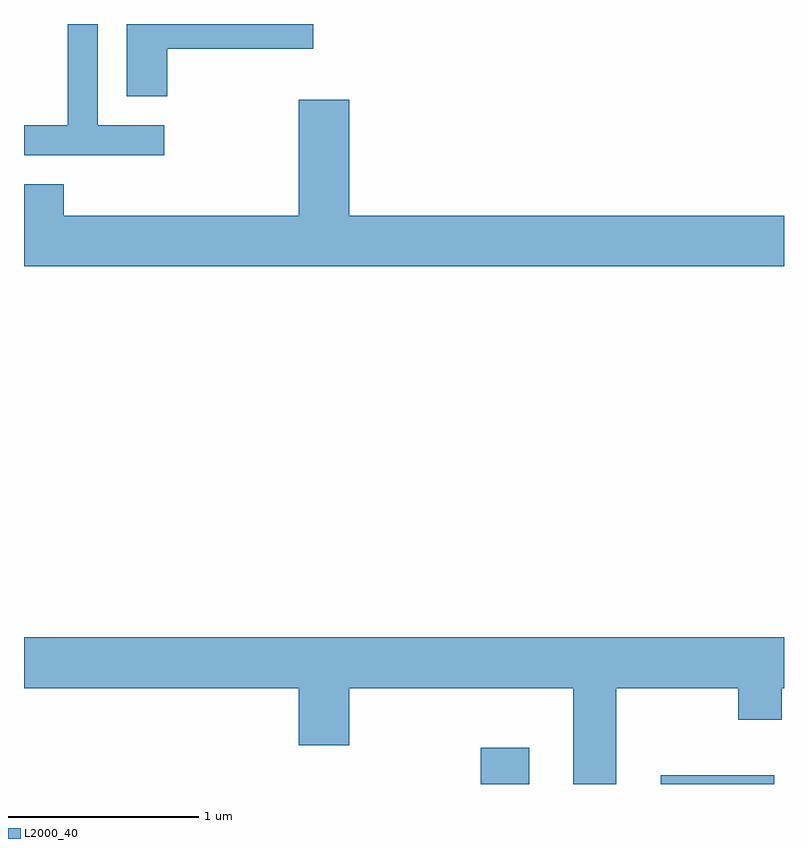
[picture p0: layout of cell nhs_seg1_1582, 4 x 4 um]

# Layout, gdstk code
import gdstk
lib = gdstk.Library(unit=1e-6, precision=1e-09)
def R(c, l, rs):  # rectangles x0, y0, x1, y1
    for r in rs: c.add(gdstk.rectangle(r[:2], r[2:], *l))
def P(c, l, *ps):  # polygons
    for p in ps: c.add(gdstk.Polygon(p, *l))
L2000_40 = (2000, 40)

nhs_seg1_1582 = lib.new_cell('nhs_seg1_1582')
R(nhs_seg1_1582, L2000_40, [(236.016,925.712,236.269,925.904), (236.961,925.712,237.559,925.759)])
P(nhs_seg1_1582, L2000_40, [(234.348,929.179),(233.999,929.179),(233.999,929.712),(233.841,929.712),(233.841,929.179),(233.611,929.179),(233.611,929.021),(234.348,929.021)],
  [(234.364,929.581),(235.134,929.581),(235.134,929.712),(234.151,929.712),(234.151,929.331),(234.364,929.331)],
  [(237.611,928.704),(235.324,928.704),(235.324,929.314),(235.056,929.314),(235.056,928.704),(233.819,928.704),(233.819,928.869),(233.611,928.869),(233.611,928.436),(237.611,928.436)],
  [(236.729,926.216),(237.371,926.216),(237.371,926.051),(237.599,926.051),(237.599,926.216),(237.611,926.216),(237.611,926.484),(233.611,926.484),(233.611,926.216),(235.056,926.216),(235.056,925.916),(235.324,925.916),(235.324,926.216),(236.501,926.216),(236.501,925.712),(236.729,925.712)])

lib.write_gds('nhs_seg1_1582.gds')
